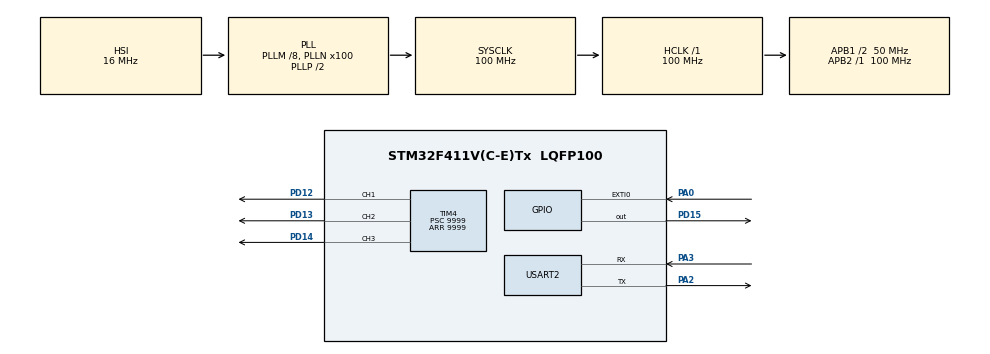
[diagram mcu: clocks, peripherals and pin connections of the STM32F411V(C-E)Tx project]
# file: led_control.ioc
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Mcu.Family=STM32F4
Mcu.Name=STM32F411V(C-E)Tx
Mcu.Package=LQFP100
NVIC.EXTI0_IRQn=true\:0\:0\:false\:false\:true\:true\:true\:true
NVIC.PriorityGroup=NVIC_PRIORITYGROUP_4
NVIC.TIM4_IRQn=true\:0\:0\:false\:false\:true\:true\:true\:true
PA0-WKUP.GPIO_ModeDefaultEXTI=GPIO_MODE_IT_RISING_FALLING
PA0-WKUP.Signal=GPXTI0
PA13.Mode=Serial_Wire
PA13.Signal=SYS_JTMS-SWDIO
PA14.Mode=Serial_Wire
PA14.Signal=SYS_JTCK-SWCLK
PA2.Mode=Asynchronous
PA2.Signal=USART2_TX
PA3.Mode=Asynchronous
PA3.Signal=USART2_RX
PD12.Signal=S_TIM4_CH1
PD13.Signal=S_TIM4_CH2
PD14.Signal=S_TIM4_CH3
PD15.Signal=GPIO_Output
PH0\ -\ OSC_IN.Mode=HSE-External-Oscillator
PH0\ -\ OSC_IN.Signal=RCC_OSC_IN
PH1\ -\ OSC_OUT.Mode=HSE-External-Oscillator
PH1\ -\ OSC_OUT.Signal=RCC_OSC_OUT
ProjectManager.HeapSize=0x200
ProjectManager.StackSize=0x400
ProjectManager.TargetToolchain=STM32CubeIDE
RCC.48MHZClocksFreq_Value=50000000
RCC.AHBFreq_Value=100000000
RCC.APB1CLKDivider=RCC_HCLK_DIV2
RCC.APB1Freq_Value=50000000
RCC.APB1TimFreq_Value=100000000
RCC.APB2Freq_Value=100000000
RCC.APB2TimFreq_Value=100000000
RCC.CortexFreq_Value=100000000
RCC.HCLKFreq_Value=100000000
RCC.HSE_VALUE=25000000
RCC.HSI_VALUE=16000000
RCC.LSE_VALUE=32768
RCC.PLLM=8
RCC.PLLN=100
RCC.SYSCLKFreq_VALUE=100000000
RCC.SYSCLKSource=RCC_SYSCLKSOURCE_PLLCLK
RCC.VCOOutputFreq_Value=200000000
SH.S_TIM4_CH1.0=TIM4_CH1,PWM Generation1 CH1
SH.S_TIM4_CH2.0=TIM4_CH2,PWM Generation2 CH2
SH.S_TIM4_CH3.0=TIM4_CH3,PWM Generation3 CH3
TIM4.Channel-PWM\ Generation1\ CH1=TIM_CHANNEL_1
TIM4.Channel-PWM\ Generation2\ CH2=TIM_CHANNEL_2
TIM4.Channel-PWM\ Generation3\ CH3=TIM_CHANNEL_3
TIM4.Period=9999
TIM4.Prescaler=9999
USART2.VirtualMode=VM_ASYNC
VP_TIM4_VS_ClockSourceINT.Mode=Internal
board=custom

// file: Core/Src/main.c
/* USER CODE BEGIN Header */
/**
 ******************************************************************************
 * @file           : main.c
 * @brief          : Main program body
 ******************************************************************************
 * @attention
 *
 * Copyright (c) 2024 STMicroelectronics.
 * All rights reserved.
 *
 * This software is licensed under terms that can be found in the LICENSE file
 * in the root directory of this software component.
 * If no LICENSE file comes with this software, it is provided AS-IS.
 *
 ******************************************************************************
 */
/* USER CODE END Header */
#include "main.h"

/* USER CODE BEGIN Includes */
#include "sys_btn.h"
#include "sys_data_mng.h"
#include "sys_led.h"
#include "sys_mng.h"

/* USER CODE END Includes */

/* USER CODE BEGIN PD */
#define PRINTF_UART_ENABLE 1      /* (1) Enable using printf() with UART */
#define PRINTF_UART_X      huart2 /* UART port used for printf() */

/* USER CODE END PD */

TIM_HandleTypeDef htim4;

UART_HandleTypeDef huart2;

void        SystemClock_Config(void);
static void MX_GPIO_Init(void);
static void MX_USART2_UART_Init(void);
static void MX_TIM4_Init(void);

/* USER CODE BEGIN 0 */
// Using printf with UART
#if PRINTF_UART_ENABLE
extern UART_HandleTypeDef PRINTF_UART_X;
#if defined(__GNUC__)
int _write(int fd, char *ptr, int len)
{
  HAL_UART_Transmit(&PRINTF_UART_X, (uint8_t *)ptr, len, 0xFFFFFFFF);
  return len;
}
#elif defined(__ICCARM__)
#include "LowLevelIOInterface.h"

size_t __write(int handle, const unsigned char *buffer, size_t size)
{
  HAL_UART_Transmit(&PRINTF_UART_X, (uint8_t *)buffer, size, 0xFFFFFFFF);
  return size;
}
#elif defined(__CC_ARM)
int fputc(int ch, FILE *f)
{
  HAL_UART_Transmit(&PRINTF_UART_X, (uint8_t *)&ch, 1, 0xFFFFFFFF);
  return ch;
}
#endif
#endif

/* USER CODE END 0 */

int main(void)
{

  /* MCU Configuration--------------------------------------------------------*/

  /* Reset of all peripherals, Initializes the Flash interface and the Systick. */
  HAL_Init();

  /* Configure the system clock */
  SystemClock_Config();

  /* Initialize all configured peripherals */
  MX_GPIO_Init();
  MX_USART2_UART_Init();
  MX_TIM4_Init();
  /* USER CODE BEGIN 2 */
  sys_data_mng_init();
  sys_mng_init();
  sys_btn_init();
  sys_led_init(&htim4);

  /* USER CODE END 2 */

  /* Infinite loop */
  while (1)
  {

    /* USER CODE BEGIN 3 */
    sys_data_mng_loop();
    sys_mng_loop();
    sys_btn_loop();
    sys_led_loop();
  }
  /* USER CODE END 3 */
}

void SystemClock_Config(void)
{
  RCC_OscInitTypeDef RCC_OscInitStruct = { 0 };
  RCC_ClkInitTypeDef RCC_ClkInitStruct = { 0 };

  /** Configure the main internal regulator output voltage
   */
  __HAL_RCC_PWR_CLK_ENABLE();
  __HAL_PWR_VOLTAGESCALING_CONFIG(PWR_REGULATOR_VOLTAGE_SCALE1);

  /** Initializes the RCC Oscillators according to the specified parameters
   * in the RCC_OscInitTypeDef structure.
   */
  RCC_OscInitStruct.OscillatorType      = RCC_OSCILLATORTYPE_HSI;
  RCC_OscInitStruct.HSIState            = RCC_HSI_ON;
  RCC_OscInitStruct.HSICalibrationValue = RCC_HSICALIBRATION_DEFAULT;
  RCC_OscInitStruct.PLL.PLLState        = RCC_PLL_ON;
  RCC_OscInitStruct.PLL.PLLSource       = RCC_PLLSOURCE_HSI;
  RCC_OscInitStruct.PLL.PLLM            = 8;
  RCC_OscInitStruct.PLL.PLLN            = 100;
  RCC_OscInitStruct.PLL.PLLP            = RCC_PLLP_DIV2;
  RCC_OscInitStruct.PLL.PLLQ            = 4;
  if (HAL_RCC_OscConfig(&RCC_OscInitStruct) != HAL_OK)
  {
    Error_Handler();
  }

  /** Initializes the CPU, AHB and APB buses clocks
   */
  RCC_ClkInitStruct.ClockType = RCC_CLOCKTYPE_HCLK | RCC_CLOCKTYPE_SYSCLK |
  RCC_CLOCKTYPE_PCLK1 | RCC_CLOCKTYPE_PCLK2;
  RCC_ClkInitStruct.SYSCLKSource   = RCC_SYSCLKSOURCE_PLLCLK;
  RCC_ClkInitStruct.AHBCLKDivider  = RCC_SYSCLK_DIV1;
  RCC_ClkInitStruct.APB1CLKDivider = RCC_HCLK_DIV2;
  RCC_ClkInitStruct.APB2CLKDivider = RCC_HCLK_DIV1;

  if (HAL_RCC_ClockConfig(&RCC_ClkInitStruct, FLASH_LATENCY_3) != HAL_OK)
  {
    Error_Handler();
  }
}

static void MX_TIM4_Init(void)
{

  TIM_ClockConfigTypeDef  sClockSourceConfig = { 0 };
  TIM_MasterConfigTypeDef sMasterConfig      = { 0 };
  TIM_OC_InitTypeDef      sConfigOC          = { 0 };

  htim4.Instance               = TIM4;
  htim4.Init.Prescaler         = 9999;
  htim4.Init.CounterMode       = TIM_COUNTERMODE_UP;
  htim4.Init.Period            = 9999;
  htim4.Init.ClockDivision     = TIM_CLOCKDIVISION_DIV1;
  htim4.Init.AutoReloadPreload = TIM_AUTORELOAD_PRELOAD_DISABLE;
  if (HAL_TIM_Base_Init(&htim4) != HAL_OK)
  {
    Error_Handler();
  }
  sClockSourceConfig.ClockSource = TIM_CLOCKSOURCE_INTERNAL;
  if (HAL_TIM_ConfigClockSource(&htim4, &sClockSourceConfig) != HAL_OK)
  {
    Error_Handler();
  }
  if (HAL_TIM_PWM_Init(&htim4) != HAL_OK)
  {
    Error_Handler();
  }
  sMasterConfig.MasterOutputTrigger = TIM_TRGO_RESET;
  sMasterConfig.MasterSlaveMode     = TIM_MASTERSLAVEMODE_DISABLE;
  if (HAL_TIMEx_MasterConfigSynchronization(&htim4, &sMasterConfig) != HAL_OK)
  {
    Error_Handler();
  }
  sConfigOC.OCMode     = TIM_OCMODE_PWM1;
  sConfigOC.Pulse      = 0;
  sConfigOC.OCPolarity = TIM_OCPOLARITY_HIGH;
  sConfigOC.OCFastMode = TIM_OCFAST_DISABLE;
  if (HAL_TIM_PWM_ConfigChannel(&htim4, &sConfigOC, TIM_CHANNEL_1) != HAL_OK)
  {
    Error_Handler();
  }
  if (HAL_TIM_PWM_ConfigChannel(&htim4, &sConfigOC, TIM_CHANNEL_2) != HAL_OK)
  {
    Error_Handler();
  }
  if (HAL_TIM_PWM_ConfigChannel(&htim4, &sConfigOC, TIM_CHANNEL_3) != HAL_OK)
  {
    Error_Handler();
  }
  HAL_TIM_MspPostInit(&htim4);
}

static void MX_USART2_UART_Init(void)
{

  huart2.Instance          = USART2;
  huart2.Init.BaudRate     = 115200;
  huart2.Init.WordLength   = UART_WORDLENGTH_8B;
  huart2.Init.StopBits     = UART_STOPBITS_1;
  huart2.Init.Parity       = UART_PARITY_NONE;
  huart2.Init.Mode         = UART_MODE_TX_RX;
  huart2.Init.HwFlowCtl    = UART_HWCONTROL_NONE;
  huart2.Init.OverSampling = UART_OVERSAMPLING_16;
  if (HAL_UART_Init(&huart2) != HAL_OK)
  {
    Error_Handler();
  }
}

static void MX_GPIO_Init(void)
{
  GPIO_InitTypeDef GPIO_InitStruct = { 0 };

  /* GPIO Ports Clock Enable */
  __HAL_RCC_GPIOH_CLK_ENABLE();
  __HAL_RCC_GPIOA_CLK_ENABLE();
  __HAL_RCC_GPIOD_CLK_ENABLE();

  /*Configure GPIO pin Output Level */
  HAL_GPIO_WritePin(GPIOD, GPIO_PIN_15, GPIO_PIN_RESET);

  /*Configure GPIO pin : PA0 */
  GPIO_InitStruct.Pin  = GPIO_PIN_0;
  GPIO_InitStruct.Mode = GPIO_MODE_IT_RISING_FALLING;
  GPIO_InitStruct.Pull = GPIO_NOPULL;
  HAL_GPIO_Init(GPIOA, &GPIO_InitStruct);

  /*Configure GPIO pin : PD15 */
  GPIO_InitStruct.Pin   = GPIO_PIN_15;
  GPIO_InitStruct.Mode  = GPIO_MODE_OUTPUT_PP;
  GPIO_InitStruct.Pull  = GPIO_NOPULL;
  GPIO_InitStruct.Speed = GPIO_SPEED_FREQ_LOW;
  HAL_GPIO_Init(GPIOD, &GPIO_InitStruct);

  /* EXTI interrupt init*/
  HAL_NVIC_SetPriority(EXTI0_IRQn, 0, 0);
  HAL_NVIC_EnableIRQ(EXTI0_IRQn);

}

void Error_Handler(void)
{
  __disable_irq();
  while (1)
  {
  }
}
